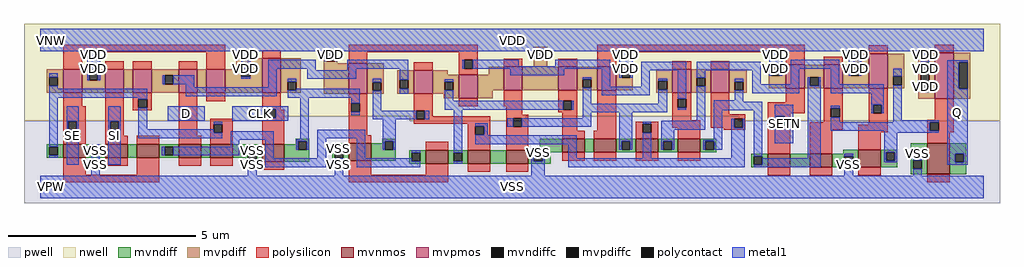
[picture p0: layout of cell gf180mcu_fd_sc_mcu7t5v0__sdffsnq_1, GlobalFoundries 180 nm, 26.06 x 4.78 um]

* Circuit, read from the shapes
.subckt gf180mcu_fd_sc_mcu7t5v0__sdffsnq_1 D SE SETN SI CLK Q VDD VNW VPW VSS
XM1 VSS SE n1 VPW nfet_06v0 w=0.36u l=0.6u
XM2 n2 SI VSS VPW nfet_06v0 w=0.36u l=0.6u
XM3 n3 SE n2 VPW nfet_06v0 w=0.36u l=0.6u
XM4 n4 D n3 VPW nfet_06v0 w=0.36u l=0.6u
XM5 VSS n1 n4 VPW nfet_06v0 w=0.36u l=0.6u
XM6 n5 CLK VSS VPW nfet_06v0 w=0.465u l=0.6u
XM7 n6 n5 VSS VPW nfet_06v0 w=0.465u l=0.6u
XM8 n7 n5 n3 VPW nfet_06v0 w=0.36u l=0.6u
XM9 n8 n6 n7 VPW nfet_06v0 w=0.36u l=0.6u
XM10 VSS n9 n8 VPW nfet_06v0 w=0.36u l=0.6u
XM11 n10 n7 VSS VPW nfet_06v0 w=0.36u l=0.6u
XM12 n9 SETN n10 VPW nfet_06v0 w=0.36u l=0.6u
XM13 n11 n6 n9 VPW nfet_06v0 w=0.36u l=0.6u
XM14 n12 n5 n11 VPW nfet_06v0 w=0.36u l=0.6u
XM15 n13 SETN n12 VPW nfet_06v0 w=0.36u l=0.6u
XM16 VSS n14 n13 VPW nfet_06v0 w=0.36u l=0.6u
XM17 n14 n11 VSS VPW nfet_06v0 w=0.465u l=0.6u
XM18 Q n14 VSS VPW nfet_06v0 w=0.82u l=0.6u
XM19 VDD SE n1 VNW pfet_06v0 w=0.63u l=0.5u
XM20 n15 SI VDD VNW pfet_06v0 w=0.63u l=0.5u
XM21 n16 n1 n15 VNW pfet_06v0 w=0.63u l=0.5u
XM22 n17 D n16 VNW pfet_06v0 w=0.63u l=0.5u
XM23 VDD SE n17 VNW pfet_06v0 w=0.63u l=0.5u
XM24 n5 CLK VDD VNW pfet_06v0 w=0.925u l=0.5u
XM25 n6 n5 VDD VNW pfet_06v0 w=0.815u l=0.5u
XM26 n7 n6 n16 VNW pfet_06v0 w=0.625u l=0.5u
XM27 n18 n5 n7 VNW pfet_06v0 w=0.625u l=0.5u
XM28 VDD n9 n18 VNW pfet_06v0 w=0.625u l=0.5u
XM29 n9 n7 VDD VNW pfet_06v0 w=0.625u l=0.5u
XM30 VDD SETN n9 VNW pfet_06v0 w=0.625u l=0.5u
XM31 n11 n5 n9 VNW pfet_06v0 w=0.625u l=0.5u
XM32 n12 n6 n11 VNW pfet_06v0 w=0.625u l=0.5u
XM33 n12 SETN VDD VNW pfet_06v0 w=0.625u l=0.5u
XM34 VDD n14 n12 VNW pfet_06v0 w=0.625u l=0.5u
XM35 n14 n11 VDD VNW pfet_06v0 w=0.925u l=0.5u
XM36 Q n14 VDD VNW pfet_06v0 w=1.22u l=0.5u
.ends

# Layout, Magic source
magic
tech gf180mcuD
magscale 1 10
<< nwell >>
rect -86 377 5126 870
rect -86 352 1291 377
rect 1975 352 2594 377
rect 3730 352 5126 377
<< pwell >>
rect 1291 352 1975 377
rect 2594 352 3730 377
rect -86 -86 5126 352
<< mvnmos >>
rect 124 156 244 228
rect 348 156 468 228
rect 516 156 636 228
rect 740 156 860 228
rect 908 156 1028 228
rect 1185 135 1305 228
rect 1648 139 1768 232
rect 2060 124 2180 196
rect 2284 124 2404 196
rect 2488 124 2608 196
rect 2788 185 2908 257
rect 2956 185 3076 257
rect 3180 185 3300 257
rect 3404 185 3524 257
rect 3885 106 4005 178
rect 4110 106 4230 178
rect 4370 106 4490 199
rect 4738 68 4858 232
<< mvpmos >>
rect 124 502 224 628
rect 348 502 448 628
rect 496 502 596 628
rect 740 502 840 628
rect 888 502 988 628
rect 1185 502 1285 687
rect 1648 497 1748 660
rect 1996 497 2096 622
rect 2236 474 2336 599
rect 2476 516 2576 641
rect 2768 516 2868 641
rect 2976 516 3076 641
rect 3377 503 3477 628
rect 3581 503 3681 628
rect 3982 527 4082 652
rect 4186 527 4286 652
rect 4426 527 4526 712
rect 4778 472 4878 716
<< mvndiff >>
rect 1365 244 1437 257
rect 1365 228 1378 244
rect 36 215 124 228
rect 36 169 49 215
rect 95 169 124 215
rect 36 156 124 169
rect 244 215 348 228
rect 244 169 273 215
rect 319 169 348 215
rect 244 156 348 169
rect 468 156 516 228
rect 636 215 740 228
rect 636 169 665 215
rect 711 169 740 215
rect 636 156 740 169
rect 860 156 908 228
rect 1028 194 1185 228
rect 1028 156 1110 194
rect 1097 148 1110 156
rect 1156 148 1185 194
rect 1097 135 1185 148
rect 1305 198 1378 228
rect 1424 198 1437 244
rect 1828 244 1900 257
rect 1828 232 1841 244
rect 1305 135 1437 198
rect 1560 198 1648 232
rect 1560 152 1573 198
rect 1619 152 1648 198
rect 1560 139 1648 152
rect 1768 198 1841 232
rect 1887 198 1900 244
rect 1768 139 1900 198
rect 2668 196 2788 257
rect 1972 183 2060 196
rect 1972 137 1985 183
rect 2031 137 2060 183
rect 1972 124 2060 137
rect 2180 183 2284 196
rect 2180 137 2209 183
rect 2255 137 2284 183
rect 2180 124 2284 137
rect 2404 124 2488 196
rect 2608 185 2788 196
rect 2908 185 2956 257
rect 3076 244 3180 257
rect 3076 198 3105 244
rect 3151 198 3180 244
rect 3076 185 3180 198
rect 3300 244 3404 257
rect 3300 198 3329 244
rect 3375 198 3404 244
rect 3300 185 3404 198
rect 3524 244 3612 257
rect 3524 198 3553 244
rect 3599 198 3612 244
rect 3524 185 3612 198
rect 2608 183 2728 185
rect 2608 137 2637 183
rect 2683 137 2728 183
rect 4290 178 4370 199
rect 3797 165 3885 178
rect 2608 124 2728 137
rect 3797 119 3810 165
rect 3856 119 3885 165
rect 3797 106 3885 119
rect 4005 106 4110 178
rect 4230 165 4370 178
rect 4230 119 4295 165
rect 4341 119 4370 165
rect 4230 106 4370 119
rect 4490 186 4578 199
rect 4490 140 4519 186
rect 4565 140 4578 186
rect 4490 106 4578 140
rect 4650 142 4738 232
rect 4650 96 4663 142
rect 4709 96 4738 142
rect 4650 68 4738 96
rect 4858 177 4946 232
rect 4858 131 4887 177
rect 4933 131 4946 177
rect 4858 68 4946 131
<< mvpdiff >>
rect 1516 716 1588 729
rect 1048 634 1185 687
rect 1048 628 1075 634
rect 36 585 124 628
rect 36 539 49 585
rect 95 539 124 585
rect 36 502 124 539
rect 224 615 348 628
rect 224 569 263 615
rect 309 569 348 615
rect 224 502 348 569
rect 448 502 496 628
rect 596 595 740 628
rect 596 549 665 595
rect 711 549 740 595
rect 596 502 740 549
rect 840 502 888 628
rect 988 588 1075 628
rect 1121 588 1185 634
rect 988 502 1185 588
rect 1285 561 1393 687
rect 1285 515 1322 561
rect 1368 515 1393 561
rect 1285 502 1393 515
rect 1516 670 1529 716
rect 1575 670 1588 716
rect 1516 660 1588 670
rect 2636 735 2708 748
rect 2636 689 2649 735
rect 2695 689 2708 735
rect 1516 497 1648 660
rect 1748 559 1836 660
rect 2636 641 2708 689
rect 1748 513 1777 559
rect 1823 513 1836 559
rect 1748 497 1836 513
rect 1908 571 1996 622
rect 1908 525 1921 571
rect 1967 525 1996 571
rect 1908 497 1996 525
rect 2096 599 2176 622
rect 2396 599 2476 641
rect 2096 562 2236 599
rect 2096 516 2160 562
rect 2206 516 2236 562
rect 2096 497 2236 516
rect 2156 474 2236 497
rect 2336 516 2476 599
rect 2576 516 2768 641
rect 2868 575 2976 641
rect 2868 529 2897 575
rect 2943 529 2976 575
rect 2868 516 2976 529
rect 3076 628 3164 641
rect 4346 652 4426 712
rect 3892 639 3982 652
rect 3076 582 3105 628
rect 3151 582 3164 628
rect 3076 516 3164 582
rect 3289 566 3377 628
rect 3289 520 3302 566
rect 3348 520 3377 566
rect 2336 474 2416 516
rect 3289 503 3377 520
rect 3477 583 3581 628
rect 3477 537 3506 583
rect 3552 537 3581 583
rect 3477 503 3581 537
rect 3681 562 3773 628
rect 3681 516 3710 562
rect 3756 516 3773 562
rect 3892 593 3905 639
rect 3951 593 3982 639
rect 3892 527 3982 593
rect 4082 586 4186 652
rect 4082 540 4111 586
rect 4157 540 4186 586
rect 4082 527 4186 540
rect 4286 639 4426 652
rect 4286 593 4329 639
rect 4375 593 4426 639
rect 4286 527 4426 593
rect 4526 590 4614 712
rect 4526 544 4555 590
rect 4601 544 4614 590
rect 4526 527 4614 544
rect 4690 665 4778 716
rect 3681 503 3773 516
rect 4690 525 4703 665
rect 4749 525 4778 665
rect 4690 472 4778 525
rect 4878 665 4966 716
rect 4878 525 4907 665
rect 4953 525 4966 665
rect 4878 472 4966 525
<< mvndiffc >>
rect 49 169 95 215
rect 273 169 319 215
rect 665 169 711 215
rect 1110 148 1156 194
rect 1378 198 1424 244
rect 1573 152 1619 198
rect 1841 198 1887 244
rect 1985 137 2031 183
rect 2209 137 2255 183
rect 3105 198 3151 244
rect 3329 198 3375 244
rect 3553 198 3599 244
rect 2637 137 2683 183
rect 3810 119 3856 165
rect 4295 119 4341 165
rect 4519 140 4565 186
rect 4663 96 4709 142
rect 4887 131 4933 177
<< mvpdiffc >>
rect 49 539 95 585
rect 263 569 309 615
rect 665 549 711 595
rect 1075 588 1121 634
rect 1322 515 1368 561
rect 1529 670 1575 716
rect 2649 689 2695 735
rect 1777 513 1823 559
rect 1921 525 1967 571
rect 2160 516 2206 562
rect 2897 529 2943 575
rect 3105 582 3151 628
rect 3302 520 3348 566
rect 3506 537 3552 583
rect 3710 516 3756 562
rect 3905 593 3951 639
rect 4111 540 4157 586
rect 4329 593 4375 639
rect 4555 544 4601 590
rect 4703 525 4749 665
rect 4907 525 4953 665
<< polysilicon >>
rect 124 720 988 760
rect 124 628 224 720
rect 348 628 448 672
rect 496 628 596 672
rect 740 628 840 672
rect 888 628 988 720
rect 1185 687 1285 731
rect 1648 720 2336 760
rect 1648 660 1748 720
rect 2236 678 2336 720
rect 124 432 224 502
rect 124 351 244 432
rect 124 305 150 351
rect 196 305 244 351
rect 124 228 244 305
rect 348 351 448 502
rect 496 469 596 502
rect 496 423 525 469
rect 571 423 596 469
rect 496 410 596 423
rect 348 305 374 351
rect 420 305 448 351
rect 348 272 448 305
rect 740 407 840 502
rect 888 458 988 502
rect 740 361 753 407
rect 799 361 840 407
rect 1185 415 1285 502
rect 1996 622 2096 666
rect 2236 632 2264 678
rect 2310 632 2336 678
rect 2476 641 2576 685
rect 2976 720 4082 760
rect 2768 641 2868 685
rect 2976 641 3076 720
rect 2236 599 2336 632
rect 1185 369 1213 415
rect 1259 413 1285 415
rect 1648 448 1748 497
rect 1259 369 1305 413
rect 740 272 840 361
rect 908 335 1028 363
rect 908 289 926 335
rect 972 289 1028 335
rect 348 228 468 272
rect 516 228 636 272
rect 740 228 860 272
rect 908 228 1028 289
rect 1185 228 1305 369
rect 1648 402 1661 448
rect 1707 402 1748 448
rect 1648 277 1748 402
rect 1996 407 2096 497
rect 3377 628 3477 672
rect 3581 628 3681 672
rect 3982 652 4082 720
rect 4426 712 4526 756
rect 4778 716 4878 760
rect 4186 652 4286 696
rect 2236 430 2336 474
rect 2476 430 2576 516
rect 1996 361 2009 407
rect 2055 376 2096 407
rect 2488 384 2576 430
rect 2768 459 2868 516
rect 2768 413 2794 459
rect 2840 413 2868 459
rect 2768 400 2868 413
rect 2055 361 2404 376
rect 1996 336 2404 361
rect 2284 324 2404 336
rect 2284 278 2325 324
rect 2371 278 2404 324
rect 124 64 244 156
rect 348 112 468 156
rect 516 64 636 156
rect 740 112 860 156
rect 908 112 1028 156
rect 1648 232 1768 277
rect 2060 196 2180 240
rect 2284 196 2404 278
rect 2488 367 2608 384
rect 2488 321 2526 367
rect 2572 321 2608 367
rect 2488 196 2608 321
rect 2788 301 2868 400
rect 2976 301 3076 516
rect 3377 470 3477 503
rect 3377 424 3404 470
rect 3450 424 3477 470
rect 3377 357 3477 424
rect 3581 389 3681 503
rect 3982 451 4082 527
rect 3885 393 4082 451
rect 4186 419 4286 527
rect 3581 363 3766 389
rect 2788 257 2908 301
rect 2956 257 3076 301
rect 3180 336 3300 349
rect 3180 290 3218 336
rect 3264 290 3300 336
rect 3377 317 3524 357
rect 3581 317 3707 363
rect 3753 317 3766 363
rect 3180 257 3300 290
rect 3404 257 3524 317
rect 3650 304 3766 317
rect 3885 377 4005 393
rect 3885 331 3931 377
rect 3977 331 4005 377
rect 4186 373 4223 419
rect 4269 373 4286 419
rect 4186 345 4286 373
rect 1185 91 1305 135
rect 124 24 636 64
rect 1648 64 1768 139
rect 2788 141 2908 185
rect 2956 141 3076 185
rect 3180 141 3300 185
rect 3404 141 3524 185
rect 3885 178 4005 331
rect 4110 305 4286 345
rect 4426 438 4526 527
rect 4426 392 4449 438
rect 4495 392 4526 438
rect 4426 332 4526 392
rect 4778 358 4878 472
rect 4110 178 4230 305
rect 4370 292 4526 332
rect 4738 345 4878 358
rect 4738 299 4752 345
rect 4798 299 4878 345
rect 4738 292 4878 299
rect 4370 199 4490 292
rect 4738 232 4858 292
rect 2060 64 2180 124
rect 2284 80 2404 124
rect 2488 80 2608 124
rect 1648 24 2180 64
rect 3885 62 4005 106
rect 4110 62 4230 106
rect 4370 62 4490 106
rect 4738 24 4858 68
<< polycontact >>
rect 150 305 196 351
rect 525 423 571 469
rect 374 305 420 351
rect 753 361 799 407
rect 2264 632 2310 678
rect 1213 369 1259 415
rect 926 289 972 335
rect 1661 402 1707 448
rect 2009 361 2055 407
rect 2794 413 2840 459
rect 2325 278 2371 324
rect 2526 321 2572 367
rect 3404 424 3450 470
rect 3218 290 3264 336
rect 3707 317 3753 363
rect 3931 331 3977 377
rect 4223 373 4269 419
rect 4449 392 4495 438
rect 4752 299 4798 345
<< metal1 >>
rect 0 735 5040 844
rect 0 724 2649 735
rect 252 615 320 724
rect 49 585 95 608
rect 252 569 263 615
rect 309 569 320 615
rect 1075 634 1121 724
rect 1518 716 1586 724
rect 654 549 665 595
rect 711 549 824 595
rect 1075 577 1121 588
rect 1217 632 1472 678
rect 1518 670 1529 716
rect 1575 670 1586 716
rect 2638 689 2649 724
rect 2695 724 5040 735
rect 2695 689 2706 724
rect 49 523 95 539
rect 778 531 824 549
rect 1217 531 1263 632
rect 1426 624 1472 632
rect 1641 632 1967 678
rect 2253 632 2264 678
rect 2310 643 2556 678
rect 2752 643 3046 678
rect 2310 632 3046 643
rect 1641 624 1687 632
rect 1426 578 1687 624
rect 49 477 571 523
rect 778 484 1263 531
rect 1322 561 1368 578
rect 1777 559 1823 578
rect 1368 515 1707 524
rect 1322 477 1707 515
rect 49 215 95 477
rect 525 469 571 477
rect 49 156 95 169
rect 141 351 206 430
rect 141 305 150 351
rect 196 305 206 351
rect 141 119 206 305
rect 365 351 430 430
rect 365 305 374 351
rect 420 305 430 351
rect 273 215 319 228
rect 273 60 319 169
rect 365 119 430 305
rect 525 307 571 423
rect 682 407 878 431
rect 682 361 753 407
rect 799 361 878 407
rect 682 353 878 361
rect 1026 415 1326 431
rect 1026 369 1213 415
rect 1259 369 1326 415
rect 1026 353 1326 369
rect 926 335 972 348
rect 525 289 926 307
rect 525 261 972 289
rect 1018 252 1248 298
rect 1389 255 1435 477
rect 1661 448 1707 477
rect 1661 382 1707 402
rect 1777 407 1823 513
rect 1921 571 1967 632
rect 2510 597 2798 632
rect 2897 575 2943 586
rect 1921 497 1967 525
rect 2160 562 2206 574
rect 2160 459 2206 516
rect 2160 413 2794 459
rect 2840 413 2851 459
rect 2897 444 2943 529
rect 3000 536 3046 632
rect 3092 628 3164 724
rect 3092 582 3105 628
rect 3151 582 3164 628
rect 3210 623 3450 669
rect 3210 536 3256 623
rect 3000 490 3256 536
rect 3302 566 3348 577
rect 3302 444 3348 520
rect 1777 361 2009 407
rect 2055 361 2078 407
rect 1777 360 2078 361
rect 1018 215 1064 252
rect 650 169 665 215
rect 711 169 1064 215
rect 1110 194 1156 205
rect 1110 60 1156 148
rect 1202 152 1248 252
rect 1367 244 1435 255
rect 1367 198 1378 244
rect 1424 198 1435 244
rect 1481 259 1736 306
rect 1481 152 1527 259
rect 1202 106 1527 152
rect 1573 198 1619 209
rect 1573 60 1619 152
rect 1690 152 1736 259
rect 1830 244 1898 360
rect 1830 198 1841 244
rect 1887 198 1898 244
rect 1985 183 2031 196
rect 1690 137 1985 152
rect 1690 106 2031 137
rect 2209 183 2255 413
rect 2897 398 3348 444
rect 3404 470 3450 623
rect 3404 413 3450 424
rect 3506 623 3848 669
rect 3506 583 3552 623
rect 2897 367 2943 398
rect 2325 324 2391 340
rect 2371 278 2391 324
rect 2495 321 2526 367
rect 2572 321 2943 367
rect 2325 275 2391 278
rect 2325 229 2866 275
rect 2209 124 2255 137
rect 2624 137 2637 183
rect 2683 137 2696 183
rect 2624 60 2696 137
rect 2820 152 2866 229
rect 3094 244 3162 398
rect 3506 352 3552 537
rect 3710 562 3756 577
rect 3710 463 3756 516
rect 3802 547 3848 623
rect 3894 639 3962 724
rect 3894 593 3905 639
rect 3951 593 3962 639
rect 4008 632 4268 678
rect 4008 547 4054 632
rect 3802 501 4054 547
rect 4100 540 4111 586
rect 4157 540 4168 586
rect 3094 198 3105 244
rect 3151 198 3162 244
rect 3218 336 3264 348
rect 3218 152 3264 290
rect 3318 305 3552 352
rect 3598 455 3756 463
rect 3598 409 3856 455
rect 3318 244 3386 305
rect 3598 253 3644 409
rect 3318 198 3329 244
rect 3375 198 3386 244
rect 3542 244 3644 253
rect 3542 198 3553 244
rect 3599 198 3644 244
rect 3690 317 3707 363
rect 3753 317 3764 363
rect 3690 152 3764 317
rect 2820 106 3764 152
rect 3810 165 3856 409
rect 3924 377 4022 438
rect 3924 331 3931 377
rect 3977 331 4022 377
rect 3924 234 4022 331
rect 4100 152 4168 540
rect 4222 547 4268 632
rect 4318 639 4386 724
rect 4318 593 4329 639
rect 4375 593 4386 639
rect 4703 665 4749 724
rect 4555 590 4601 630
rect 4222 501 4506 547
rect 4438 438 4506 501
rect 4223 419 4269 434
rect 4438 392 4449 438
rect 4495 392 4506 438
rect 4223 345 4269 373
rect 4555 356 4601 544
rect 4703 506 4749 525
rect 4844 665 4954 676
rect 4844 525 4907 665
rect 4953 525 4954 665
rect 4555 345 4798 356
rect 4223 299 4752 345
rect 4508 288 4798 299
rect 4508 186 4578 288
rect 3856 119 4168 152
rect 3810 106 4168 119
rect 4295 165 4341 178
rect 4508 140 4519 186
rect 4565 140 4578 186
rect 4508 131 4578 140
rect 4663 142 4709 181
rect 4295 60 4341 119
rect 4844 177 4954 525
rect 4844 131 4887 177
rect 4933 131 4954 177
rect 4844 119 4954 131
rect 4663 60 4709 96
rect 0 -60 5040 60
<< labels >>
flabel metal1 s 4844 119 4954 676 0 FreeSans 400 0 0 0 Q
port 6 nsew default output
flabel metal1 s 141 119 206 430 0 FreeSans 400 0 0 0 SE
port 2 nsew default input
flabel metal1 s 3924 234 4022 438 0 FreeSans 400 0 0 0 SETN
port 3 nsew default input
flabel metal1 s 365 119 430 430 0 FreeSans 400 0 0 0 SI
port 4 nsew default input
flabel metal1 s 0 724 5040 844 0 FreeSans 400 0 0 0 VDD
port 7 nsew power bidirectional abutment
flabel metal1 s 273 209 319 228 0 FreeSans 400 0 0 0 VSS
port 10 nsew ground bidirectional abutment
flabel metal1 s 1026 353 1326 431 0 FreeSans 400 0 0 0 CLK
port 5 nsew clock input
flabel metal1 s 682 353 878 431 0 FreeSans 400 0 0 0 D
port 1 nsew default input
flabel nwell s 10 734 110 834 0 FreeSans 400 0 0 0 VNW
port 8 nsew power bidirectional
flabel pwell s 10 -50 110 50 0 FreeSans 400 0 0 0 VPW
port 9 nsew ground bidirectional
rlabel metal1 s 4703 689 4749 724 1 VDD
port 7 nsew power bidirectional abutment
rlabel metal1 s 4318 689 4386 724 1 VDD
port 7 nsew power bidirectional abutment
rlabel metal1 s 3894 689 3962 724 1 VDD
port 7 nsew power bidirectional abutment
rlabel metal1 s 3092 689 3164 724 1 VDD
port 7 nsew power bidirectional abutment
rlabel metal1 s 2638 689 2706 724 1 VDD
port 7 nsew power bidirectional abutment
rlabel metal1 s 1518 689 1586 724 1 VDD
port 7 nsew power bidirectional abutment
rlabel metal1 s 1075 689 1121 724 1 VDD
port 7 nsew power bidirectional abutment
rlabel metal1 s 252 689 320 724 1 VDD
port 7 nsew power bidirectional abutment
rlabel metal1 s 4703 670 4749 689 1 VDD
port 7 nsew power bidirectional abutment
rlabel metal1 s 4318 670 4386 689 1 VDD
port 7 nsew power bidirectional abutment
rlabel metal1 s 3894 670 3962 689 1 VDD
port 7 nsew power bidirectional abutment
rlabel metal1 s 3092 670 3164 689 1 VDD
port 7 nsew power bidirectional abutment
rlabel metal1 s 1518 670 1586 689 1 VDD
port 7 nsew power bidirectional abutment
rlabel metal1 s 1075 670 1121 689 1 VDD
port 7 nsew power bidirectional abutment
rlabel metal1 s 252 670 320 689 1 VDD
port 7 nsew power bidirectional abutment
rlabel metal1 s 4703 593 4749 670 1 VDD
port 7 nsew power bidirectional abutment
rlabel metal1 s 4318 593 4386 670 1 VDD
port 7 nsew power bidirectional abutment
rlabel metal1 s 3894 593 3962 670 1 VDD
port 7 nsew power bidirectional abutment
rlabel metal1 s 3092 593 3164 670 1 VDD
port 7 nsew power bidirectional abutment
rlabel metal1 s 1075 593 1121 670 1 VDD
port 7 nsew power bidirectional abutment
rlabel metal1 s 252 593 320 670 1 VDD
port 7 nsew power bidirectional abutment
rlabel metal1 s 4703 582 4749 593 1 VDD
port 7 nsew power bidirectional abutment
rlabel metal1 s 3092 582 3164 593 1 VDD
port 7 nsew power bidirectional abutment
rlabel metal1 s 1075 582 1121 593 1 VDD
port 7 nsew power bidirectional abutment
rlabel metal1 s 252 582 320 593 1 VDD
port 7 nsew power bidirectional abutment
rlabel metal1 s 4703 577 4749 582 1 VDD
port 7 nsew power bidirectional abutment
rlabel metal1 s 1075 577 1121 582 1 VDD
port 7 nsew power bidirectional abutment
rlabel metal1 s 252 577 320 582 1 VDD
port 7 nsew power bidirectional abutment
rlabel metal1 s 4703 569 4749 577 1 VDD
port 7 nsew power bidirectional abutment
rlabel metal1 s 252 569 320 577 1 VDD
port 7 nsew power bidirectional abutment
rlabel metal1 s 4703 506 4749 569 1 VDD
port 7 nsew power bidirectional abutment
rlabel metal1 s 1573 205 1619 209 1 VSS
port 10 nsew ground bidirectional abutment
rlabel metal1 s 273 205 319 209 1 VSS
port 10 nsew ground bidirectional abutment
rlabel metal1 s 1573 183 1619 205 1 VSS
port 10 nsew ground bidirectional abutment
rlabel metal1 s 1110 183 1156 205 1 VSS
port 10 nsew ground bidirectional abutment
rlabel metal1 s 273 183 319 205 1 VSS
port 10 nsew ground bidirectional abutment
rlabel metal1 s 2624 181 2696 183 1 VSS
port 10 nsew ground bidirectional abutment
rlabel metal1 s 1573 181 1619 183 1 VSS
port 10 nsew ground bidirectional abutment
rlabel metal1 s 1110 181 1156 183 1 VSS
port 10 nsew ground bidirectional abutment
rlabel metal1 s 273 181 319 183 1 VSS
port 10 nsew ground bidirectional abutment
rlabel metal1 s 4663 178 4709 181 1 VSS
port 10 nsew ground bidirectional abutment
rlabel metal1 s 2624 178 2696 181 1 VSS
port 10 nsew ground bidirectional abutment
rlabel metal1 s 1573 178 1619 181 1 VSS
port 10 nsew ground bidirectional abutment
rlabel metal1 s 1110 178 1156 181 1 VSS
port 10 nsew ground bidirectional abutment
rlabel metal1 s 273 178 319 181 1 VSS
port 10 nsew ground bidirectional abutment
rlabel metal1 s 4663 60 4709 178 1 VSS
port 10 nsew ground bidirectional abutment
rlabel metal1 s 4295 60 4341 178 1 VSS
port 10 nsew ground bidirectional abutment
rlabel metal1 s 2624 60 2696 178 1 VSS
port 10 nsew ground bidirectional abutment
rlabel metal1 s 1573 60 1619 178 1 VSS
port 10 nsew ground bidirectional abutment
rlabel metal1 s 1110 60 1156 178 1 VSS
port 10 nsew ground bidirectional abutment
rlabel metal1 s 273 60 319 178 1 VSS
port 10 nsew ground bidirectional abutment
rlabel metal1 s 0 -60 5040 60 1 VSS
port 10 nsew ground bidirectional abutment
<< properties >>
string FIXED_BBOX 0 0 5040 784
string GDS_END 292490
string GDS_FILE $PDKPATH/libs.ref/gf180mcu_fd_sc_mcu7t5v0/gds/gf180mcu_fd_sc_mcu7t5v0.gds
string GDS_START 281450
string LEFclass core
string LEFsite GF018hv5v_mcu_sc7
string LEFsymmetry X Y
<< end >>
